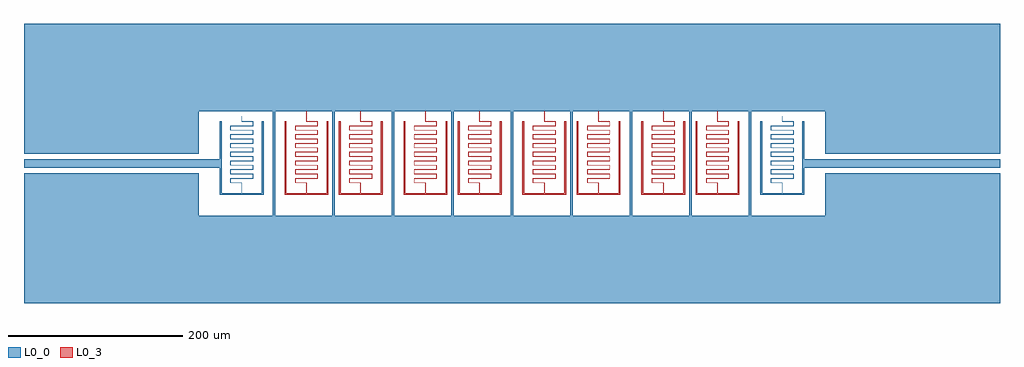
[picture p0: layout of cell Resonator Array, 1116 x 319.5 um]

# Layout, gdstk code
import gdstk
lib = gdstk.Library(unit=1e-6, precision=1e-09)
def P(c, l, *ps):  # polygons
    for p in ps: c.add(gdstk.Polygon(p, *l))
L0_0 = (0, 0)
L0_3 = (0, 3)

resonator_array = lib.new_cell('Resonator Array')
P(resonator_array, L0_0, [(793,24.75),(593,24.75),(593,-24),(508.5,-24),(508.5,95.5),(593,95.5),(593,46.75),(793,46.75),(793,195.5),(-323,195.5),(-323,46.75),(-123,46.75),(-123,95.5),(-38.5,95.5),(-38.5,-24),(-35.5,-24),(-35.5,95.5),(29.5,95.5),(29.5,-24),(32.5,-24),(32.5,95.5),(97.5,95.5),(97.5,-24),(100.5,-24),(100.5,95.5),(165.5,95.5),(165.5,-24),(168.5,-24),(168.5,95.5),(233.5,95.5),(233.5,-24),(236.5,-24),(236.5,95.5),(301.5,95.5),(301.5,-24),(304.5,-24),(304.5,95.5),(369.5,95.5),(369.5,-24),(372.5,-24),(372.5,95.5),(437.5,95.5),(437.5,-24),(440.5,-24),(440.5,95.5),(505.5,95.5),(505.5,-24),(440.5,-24),(437.5,-24),(372.5,-24),(369.5,-24),(304.5,-24),(301.5,-24),(236.5,-24),(233.5,-24),(168.5,-24),(165.5,-24),(100.5,-24),(97.5,-24),(32.5,-24),(29.5,-24),(-35.5,-24),(-38.5,-24),(-123,-24),(-123,24.75),(-323,24.75),(-323,-124),(793,-124)],
  [(-49,84),(-51,84),(-51,2),(-73.75,2),(-73.75,14),(-86.5,14),(-86.5,18.5),(-61,18.5),(-61,24),(-86.5,24),(-86.5,28.5),(-61,28.5),(-61,34),(-86.5,34),(-86.5,38.5),(-61,38.5),(-61,44),(-86.5,44),(-86.5,48.5),(-61,48.5),(-61,54),(-86.5,54),(-86.5,58.5),(-61,58.5),(-61,64),(-86.5,64),(-86.5,68.5),(-61,68.5),(-61,74),(-86.5,74),(-86.5,78.5),(-61,78.5),(-61,84),(-73.75,84),(-73.75,89.625),(-74.25,89.625),(-74.25,83.5),(-61.5,83.5),(-61.5,79),(-87,79),(-87,73.5),(-61.5,73.5),(-61.5,69),(-87,69),(-87,63.5),(-61.5,63.5),(-61.5,59),(-87,59),(-87,53.5),(-61.5,53.5),(-61.5,49),(-87,49),(-87,43.5),(-61.5,43.5),(-61.5,39),(-87,39),(-87,33.5),(-61.5,33.5),(-61.5,29),(-87,29),(-87,23.5),(-61.5,23.5),(-61.5,19),(-87,19),(-87,13.5),(-74.25,13.5),(-74.25,2),(-97,2),(-97,84),(-99,84),(-99,40.75),(-323,40.75),(-323,30.75),(-99,30.75),(-99,0),(-49,0)],
  [(569,30.75),(793,30.75),(793,40.75),(569,40.75),(569,84),(567,84),(567,2),(544.25,2),(544.25,14),(531.5,14),(531.5,18.5),(557,18.5),(557,24),(531.5,24),(531.5,28.5),(557,28.5),(557,34),(531.5,34),(531.5,38.5),(557,38.5),(557,44),(531.5,44),(531.5,48.5),(557,48.5),(557,54),(531.5,54),(531.5,58.5),(557,58.5),(557,64),(531.5,64),(531.5,68.5),(557,68.5),(557,74),(531.5,74),(531.5,78.5),(557,78.5),(557,84),(544.25,84),(544.25,89.625),(543.75,89.625),(543.75,83.5),(556.5,83.5),(556.5,79),(531,79),(531,73.5),(556.5,73.5),(556.5,69),(531,69),(531,63.5),(556.5,63.5),(556.5,59),(531,59),(531,53.5),(556.5,53.5),(556.5,49),(531,49),(531,43.5),(556.5,43.5),(556.5,39),(531,39),(531,33.5),(556.5,33.5),(556.5,29),(531,29),(531,23.5),(556.5,23.5),(556.5,19),(531,19),(531,13.5),(543.75,13.5),(543.75,2),(521,2),(521,84),(519,84),(519,0),(569,0)])
P(resonator_array, L0_3, [(-23,84),(-25,84),(-25,0),(25,0),(25,84),(23,84),(23,2),(-23,2)],
  [(-0.25,2),(0.25,2),(0.25,14),(0.25,14),(-12.5,14),(-12.5,18.5),(0,18.5),(13,18.5),(13,24),(0,24),(-12.5,24),(-12.5,28.5),(0,28.5),(13,28.5),(13,34),(0,34),(-12.5,34),(-12.5,38.5),(0,38.5),(13,38.5),(13,44),(0,44),(-12.5,44),(-12.5,48.5),(0,48.5),(13,48.5),(13,54),(0,54),(-12.5,54),(-12.5,58.5),(0,58.5),(13,58.5),(13,64),(0,64),(-12.5,64),(-12.5,68.5),(0,68.5),(13,68.5),(13,74),(0,74),(-12.5,74),(-12.5,78.5),(0,78.5),(13,78.5),(13,84),(0.25,84),(0.25,95.5),(-0.25,95.5),(-0.25,83.5),(-0.25,83.5),(12.5,83.5),(12.5,79),(0,79),(-13,79),(-13,73.5),(0,73.5),(12.5,73.5),(12.5,69),(0,69),(-13,69),(-13,63.5),(0,63.5),(12.5,63.5),(12.5,59),(0,59),(-13,59),(-13,53.5),(0,53.5),(12.5,53.5),(12.5,49),(0,49),(-13,49),(-13,43.5),(0,43.5),(12.5,43.5),(12.5,39),(0,39),(-13,39),(-13,33.5),(0,33.5),(12.5,33.5),(12.5,29),(0,29),(-13,29),(-13,23.5),(0,23.5),(12.5,23.5),(12.5,19),(0,19),(-13,19),(-13,13.5),(-0.25,13.5)],
  [(39,84),(37,84),(37,0),(87,0),(87,84),(85,84),(85,2),(39,2)],
  [(61.75,2),(62.25,2),(62.25,14),(62.25,14),(49.5,14),(49.5,18.5),(62,18.5),(75,18.5),(75,24),(62,24),(49.5,24),(49.5,28.5),(62,28.5),(75,28.5),(75,34),(62,34),(49.5,34),(49.5,38.5),(62,38.5),(75,38.5),(75,44),(62,44),(49.5,44),(49.5,48.5),(62,48.5),(75,48.5),(75,54),(62,54),(49.5,54),(49.5,58.5),(62,58.5),(75,58.5),(75,64),(62,64),(49.5,64),(49.5,68.5),(62,68.5),(75,68.5),(75,74),(62,74),(49.5,74),(49.5,78.5),(62,78.5),(75,78.5),(75,84),(62.25,84),(62.25,95.5),(61.75,95.5),(61.75,83.5),(61.75,83.5),(74.5,83.5),(74.5,79),(62,79),(49,79),(49,73.5),(62,73.5),(74.5,73.5),(74.5,69),(62,69),(49,69),(49,63.5),(62,63.5),(74.5,63.5),(74.5,59),(62,59),(49,59),(49,53.5),(62,53.5),(74.5,53.5),(74.5,49),(62,49),(49,49),(49,43.5),(62,43.5),(74.5,43.5),(74.5,39),(62,39),(49,39),(49,33.5),(62,33.5),(74.5,33.5),(74.5,29),(62,29),(49,29),(49,23.5),(62,23.5),(74.5,23.5),(74.5,19),(62,19),(49,19),(49,13.5),(61.75,13.5)],
  [(113,84),(111,84),(111,0),(161,0),(161,84),(159,84),(159,2),(113,2)],
  [(135.75,2),(136.25,2),(136.25,14),(136.25,14),(123.5,14),(123.5,18.5),(136,18.5),(149,18.5),(149,24),(136,24),(123.5,24),(123.5,28.5),(136,28.5),(149,28.5),(149,34),(136,34),(123.5,34),(123.5,38.5),(136,38.5),(149,38.5),(149,44),(136,44),(123.5,44),(123.5,48.5),(136,48.5),(149,48.5),(149,54),(136,54),(123.5,54),(123.5,58.5),(136,58.5),(149,58.5),(149,64),(136,64),(123.5,64),(123.5,68.5),(136,68.5),(149,68.5),(149,74),(136,74),(123.5,74),(123.5,78.5),(136,78.5),(149,78.5),(149,84),(136.25,84),(136.25,95.5),(135.75,95.5),(135.75,83.5),(135.75,83.5),(148.5,83.5),(148.5,79),(136,79),(123,79),(123,73.5),(136,73.5),(148.5,73.5),(148.5,69),(136,69),(123,69),(123,63.5),(136,63.5),(148.5,63.5),(148.5,59),(136,59),(123,59),(123,53.5),(136,53.5),(148.5,53.5),(148.5,49),(136,49),(123,49),(123,43.5),(136,43.5),(148.5,43.5),(148.5,39),(136,39),(123,39),(123,33.5),(136,33.5),(148.5,33.5),(148.5,29),(136,29),(123,29),(123,23.5),(136,23.5),(148.5,23.5),(148.5,19),(136,19),(123,19),(123,13.5),(135.75,13.5)],
  [(175,84),(173,84),(173,0),(223,0),(223,84),(221,84),(221,2),(175,2)],
  [(197.75,2),(198.25,2),(198.25,14),(198.25,14),(185.5,14),(185.5,18.5),(198,18.5),(211,18.5),(211,24),(198,24),(185.5,24),(185.5,28.5),(198,28.5),(211,28.5),(211,34),(198,34),(185.5,34),(185.5,38.5),(198,38.5),(211,38.5),(211,44),(198,44),(185.5,44),(185.5,48.5),(198,48.5),(211,48.5),(211,54),(198,54),(185.5,54),(185.5,58.5),(198,58.5),(211,58.5),(211,64),(198,64),(185.5,64),(185.5,68.5),(198,68.5),(211,68.5),(211,74),(198,74),(185.5,74),(185.5,78.5),(198,78.5),(211,78.5),(211,84),(198.25,84),(198.25,95.5),(197.75,95.5),(197.75,83.5),(197.75,83.5),(210.5,83.5),(210.5,79),(198,79),(185,79),(185,73.5),(198,73.5),(210.5,73.5),(210.5,69),(198,69),(185,69),(185,63.5),(198,63.5),(210.5,63.5),(210.5,59),(198,59),(185,59),(185,53.5),(198,53.5),(210.5,53.5),(210.5,49),(198,49),(185,49),(185,43.5),(198,43.5),(210.5,43.5),(210.5,39),(198,39),(185,39),(185,33.5),(198,33.5),(210.5,33.5),(210.5,29),(198,29),(185,29),(185,23.5),(198,23.5),(210.5,23.5),(210.5,19),(198,19),(185,19),(185,13.5),(197.75,13.5)],
  [(249,84),(247,84),(247,0),(297,0),(297,84),(295,84),(295,2),(249,2)],
  [(271.75,2),(272.25,2),(272.25,14),(272.25,14),(259.5,14),(259.5,18.5),(272,18.5),(285,18.5),(285,24),(272,24),(259.5,24),(259.5,28.5),(272,28.5),(285,28.5),(285,34),(272,34),(259.5,34),(259.5,38.5),(272,38.5),(285,38.5),(285,44),(272,44),(259.5,44),(259.5,48.5),(272,48.5),(285,48.5),(285,54),(272,54),(259.5,54),(259.5,58.5),(272,58.5),(285,58.5),(285,64),(272,64),(259.5,64),(259.5,68.5),(272,68.5),(285,68.5),(285,74),(272,74),(259.5,74),(259.5,78.5),(272,78.5),(285,78.5),(285,84),(272.25,84),(272.25,95.5),(271.75,95.5),(271.75,83.5),(271.75,83.5),(284.5,83.5),(284.5,79),(272,79),(259,79),(259,73.5),(272,73.5),(284.5,73.5),(284.5,69),(272,69),(259,69),(259,63.5),(272,63.5),(284.5,63.5),(284.5,59),(272,59),(259,59),(259,53.5),(272,53.5),(284.5,53.5),(284.5,49),(272,49),(259,49),(259,43.5),(272,43.5),(284.5,43.5),(284.5,39),(272,39),(259,39),(259,33.5),(272,33.5),(284.5,33.5),(284.5,29),(272,29),(259,29),(259,23.5),(272,23.5),(284.5,23.5),(284.5,19),(272,19),(259,19),(259,13.5),(271.75,13.5)],
  [(311,84),(309,84),(309,0),(359,0),(359,84),(357,84),(357,2),(311,2)],
  [(333.75,2),(334.25,2),(334.25,14),(334.25,14),(321.5,14),(321.5,18.5),(334,18.5),(347,18.5),(347,24),(334,24),(321.5,24),(321.5,28.5),(334,28.5),(347,28.5),(347,34),(334,34),(321.5,34),(321.5,38.5),(334,38.5),(347,38.5),(347,44),(334,44),(321.5,44),(321.5,48.5),(334,48.5),(347,48.5),(347,54),(334,54),(321.5,54),(321.5,58.5),(334,58.5),(347,58.5),(347,64),(334,64),(321.5,64),(321.5,68.5),(334,68.5),(347,68.5),(347,74),(334,74),(321.5,74),(321.5,78.5),(334,78.5),(347,78.5),(347,84),(334.25,84),(334.25,95.5),(333.75,95.5),(333.75,83.5),(333.75,83.5),(346.5,83.5),(346.5,79),(334,79),(321,79),(321,73.5),(334,73.5),(346.5,73.5),(346.5,69),(334,69),(321,69),(321,63.5),(334,63.5),(346.5,63.5),(346.5,59),(334,59),(321,59),(321,53.5),(334,53.5),(346.5,53.5),(346.5,49),(334,49),(321,49),(321,43.5),(334,43.5),(346.5,43.5),(346.5,39),(334,39),(321,39),(321,33.5),(334,33.5),(346.5,33.5),(346.5,29),(334,29),(321,29),(321,23.5),(334,23.5),(346.5,23.5),(346.5,19),(334,19),(321,19),(321,13.5),(333.75,13.5)],
  [(385,84),(383,84),(383,0),(433,0),(433,84),(431,84),(431,2),(385,2)],
  [(407.75,2),(408.25,2),(408.25,14),(408.25,14),(395.5,14),(395.5,18.5),(408,18.5),(421,18.5),(421,24),(408,24),(395.5,24),(395.5,28.5),(408,28.5),(421,28.5),(421,34),(408,34),(395.5,34),(395.5,38.5),(408,38.5),(421,38.5),(421,44),(408,44),(395.5,44),(395.5,48.5),(408,48.5),(421,48.5),(421,54),(408,54),(395.5,54),(395.5,58.5),(408,58.5),(421,58.5),(421,64),(408,64),(395.5,64),(395.5,68.5),(408,68.5),(421,68.5),(421,74),(408,74),(395.5,74),(395.5,78.5),(408,78.5),(421,78.5),(421,84),(408.25,84),(408.25,95.5),(407.75,95.5),(407.75,83.5),(407.75,83.5),(420.5,83.5),(420.5,79),(408,79),(395,79),(395,73.5),(408,73.5),(420.5,73.5),(420.5,69),(408,69),(395,69),(395,63.5),(408,63.5),(420.5,63.5),(420.5,59),(408,59),(395,59),(395,53.5),(408,53.5),(420.5,53.5),(420.5,49),(408,49),(395,49),(395,43.5),(408,43.5),(420.5,43.5),(420.5,39),(408,39),(395,39),(395,33.5),(408,33.5),(420.5,33.5),(420.5,29),(408,29),(395,29),(395,23.5),(408,23.5),(420.5,23.5),(420.5,19),(408,19),(395,19),(395,13.5),(407.75,13.5)],
  [(447,84),(445,84),(445,0),(495,0),(495,84),(493,84),(493,2),(447,2)],
  [(469.75,2),(470.25,2),(470.25,14),(470.25,14),(457.5,14),(457.5,18.5),(470,18.5),(483,18.5),(483,24),(470,24),(457.5,24),(457.5,28.5),(470,28.5),(483,28.5),(483,34),(470,34),(457.5,34),(457.5,38.5),(470,38.5),(483,38.5),(483,44),(470,44),(457.5,44),(457.5,48.5),(470,48.5),(483,48.5),(483,54),(470,54),(457.5,54),(457.5,58.5),(470,58.5),(483,58.5),(483,64),(470,64),(457.5,64),(457.5,68.5),(470,68.5),(483,68.5),(483,74),(470,74),(457.5,74),(457.5,78.5),(470,78.5),(483,78.5),(483,84),(470.25,84),(470.25,95.5),(469.75,95.5),(469.75,83.5),(469.75,83.5),(482.5,83.5),(482.5,79),(470,79),(457,79),(457,73.5),(470,73.5),(482.5,73.5),(482.5,69),(470,69),(457,69),(457,63.5),(470,63.5),(482.5,63.5),(482.5,59),(470,59),(457,59),(457,53.5),(470,53.5),(482.5,53.5),(482.5,49),(470,49),(457,49),(457,43.5),(470,43.5),(482.5,43.5),(482.5,39),(470,39),(457,39),(457,33.5),(470,33.5),(482.5,33.5),(482.5,29),(470,29),(457,29),(457,23.5),(470,23.5),(482.5,23.5),(482.5,19),(470,19),(457,19),(457,13.5),(469.75,13.5)])

lib.write_gds('Resonator_Array.gds')
